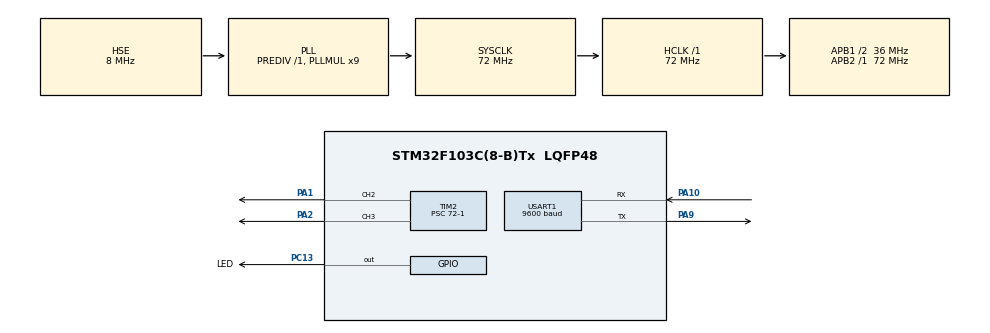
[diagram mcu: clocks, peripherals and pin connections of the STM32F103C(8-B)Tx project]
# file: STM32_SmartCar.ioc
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Mcu.Family=STM32F1
Mcu.Name=STM32F103C(8-B)Tx
Mcu.Package=LQFP48
NVIC.PriorityGroup=NVIC_PRIORITYGROUP_2
NVIC.USART1_IRQn=true\:0\:0\:false\:false\:true\:true\:true\:true
PA1.Signal=S_TIM2_CH2
PA10.Mode=Asynchronous
PA10.Signal=USART1_RX
PA13.Mode=Serial_Wire
PA13.Signal=SYS_JTMS-SWDIO
PA14.Mode=Serial_Wire
PA14.Signal=SYS_JTCK-SWCLK
PA2.Signal=S_TIM2_CH3
PA9.Mode=Asynchronous
PA9.Signal=USART1_TX
PC13-TAMPER-RTC.GPIO_Label=LED
PC13-TAMPER-RTC.PinState=GPIO_PIN_SET
PC13-TAMPER-RTC.Signal=GPIO_Output
PD0-OSC_IN.Mode=HSE-External-Oscillator
PD0-OSC_IN.Signal=RCC_OSC_IN
PD1-OSC_OUT.Mode=HSE-External-Oscillator
PD1-OSC_OUT.Signal=RCC_OSC_OUT
ProjectManager.HeapSize=0x200
ProjectManager.StackSize=0x400
ProjectManager.TargetToolchain=MDK-ARM V5.32
RCC.AHBFreq_Value=72000000
RCC.APB1CLKDivider=RCC_HCLK_DIV2
RCC.APB1Freq_Value=36000000
RCC.APB1TimFreq_Value=72000000
RCC.APB2Freq_Value=72000000
RCC.APB2TimFreq_Value=72000000
RCC.HCLKFreq_Value=72000000
RCC.PLLMUL=RCC_PLL_MUL9
RCC.PLLSourceVirtual=RCC_PLLSOURCE_HSE
RCC.SYSCLKFreq_VALUE=72000000
RCC.SYSCLKSource=RCC_SYSCLKSOURCE_PLLCLK
RCC.USBFreq_Value=72000000
SH.S_TIM2_CH2.0=TIM2_CH2,PWM Generation2 CH2
SH.S_TIM2_CH3.0=TIM2_CH3,PWM Generation3 CH3
TIM2.Channel-PWM\ Generation2\ CH2=TIM_CHANNEL_2
TIM2.Channel-PWM\ Generation3\ CH3=TIM_CHANNEL_3
TIM2.Period=100
TIM2.Prescaler=72-1
TIM2.Pulse-PWM\ Generation2\ CH2=50
TIM2.Pulse-PWM\ Generation3\ CH3=50
USART1.BaudRate=9600
USART1.VirtualMode=VM_ASYNC
VP_TIM2_VS_ClockSourceINT.Mode=Internal
board=custom

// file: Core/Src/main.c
/* USER CODE BEGIN Header */
/**
  ******************************************************************************
  * @file           : main.c
  * @brief          : Main program body
  ******************************************************************************
  * @attention
  *
  * Copyright (c) 2022 STMicroelectronics.
  * All rights reserved.
  *
  * This software is licensed under terms that can be found in the LICENSE file
  * in the root directory of this software component.
  * If no LICENSE file comes with this software, it is provided AS-IS.
  *
  ******************************************************************************
  */
/* USER CODE END Header */
#include "main.h"
#include "tim.h"
#include "usart.h"
#include "gpio.h"

/* USER CODE BEGIN Includes */
#include "stdio.h"
#include "Servo.h"
/* USER CODE END Includes */

/* USER CODE BEGIN PTD */
int fputc(int ch, FILE *stream)
{
    HAL_UART_Transmit(&huart1, (uint8_t *)&ch,1, 0xFFFF);
    return ch;
}
/* USER CODE END PTD */

void SystemClock_Config(void);

/* USER CODE BEGIN 0 */
int RxFlag = 0;
char RxBuffer[3] = {0};

// 中断回调函数，当接收到串口发送的数据后，进入该函数中
void HAL_UART_RxCpltCallback(UART_HandleTypeDef *huart)  //
{
	if(huart->Instance == USART1)   //判断发生接收中断的串口
	{
		RxFlag=1;   //置为接收完成标志
	}
	HAL_UART_Receive_IT(&huart1, (uint8_t *)RxBuffer, 3);
}
/* USER CODE END 0 */

int main(void)
{

  /* MCU Configuration--------------------------------------------------------*/

  /* Reset of all peripherals, Initializes the Flash interface and the Systick. */
  HAL_Init();

  /* Configure the system clock */
  SystemClock_Config();

  /* Initialize all configured peripherals */
  MX_GPIO_Init();
  MX_USART1_UART_Init();
  MX_TIM2_Init();
  /* USER CODE BEGIN 2 */
  HAL_TIM_PWM_Start(&htim2,TIM_CHANNEL_3|TIM_CHANNEL_2);//***定时器初始化
  HAL_UART_Receive_IT(&huart1, (uint8_t *)RxBuffer,3);
  HAL_GPIO_WritePin(LED_GPIO_Port,LED_Pin,GPIO_PIN_SET);
  /* USER CODE END 2 */

  /* Infinite loop */
  /* USER CODE BEGIN WHILE */
  SetAngle(90); // 设置初始角度值为90°
  HAL_Delay(2000);
  while (1)
  {
    /* USER CODE END WHILE */

  }
}

void SystemClock_Config(void)
{
  RCC_OscInitTypeDef RCC_OscInitStruct = {0};
  RCC_ClkInitTypeDef RCC_ClkInitStruct = {0};

  /** Initializes the RCC Oscillators according to the specified parameters
  * in the RCC_OscInitTypeDef structure.
  */
  RCC_OscInitStruct.OscillatorType = RCC_OSCILLATORTYPE_HSE;
  RCC_OscInitStruct.HSEState = RCC_HSE_ON;
  RCC_OscInitStruct.HSEPredivValue = RCC_HSE_PREDIV_DIV1;
  RCC_OscInitStruct.HSIState = RCC_HSI_ON;
  RCC_OscInitStruct.PLL.PLLState = RCC_PLL_ON;
  RCC_OscInitStruct.PLL.PLLSource = RCC_PLLSOURCE_HSE;
  RCC_OscInitStruct.PLL.PLLMUL = RCC_PLL_MUL9;
  if (HAL_RCC_OscConfig(&RCC_OscInitStruct) != HAL_OK)
  {
    Error_Handler();
  }

  /** Initializes the CPU, AHB and APB buses clocks
  */
  RCC_ClkInitStruct.ClockType = RCC_CLOCKTYPE_HCLK|RCC_CLOCKTYPE_SYSCLK
                              |RCC_CLOCKTYPE_PCLK1|RCC_CLOCKTYPE_PCLK2;
  RCC_ClkInitStruct.SYSCLKSource = RCC_SYSCLKSOURCE_PLLCLK;
  RCC_ClkInitStruct.AHBCLKDivider = RCC_SYSCLK_DIV1;
  RCC_ClkInitStruct.APB1CLKDivider = RCC_HCLK_DIV2;
  RCC_ClkInitStruct.APB2CLKDivider = RCC_HCLK_DIV1;

  if (HAL_RCC_ClockConfig(&RCC_ClkInitStruct, FLASH_LATENCY_2) != HAL_OK)
  {
    Error_Handler();
  }
}

void Error_Handler(void)
{
  __disable_irq();
  while (1)
  {
  }
}
